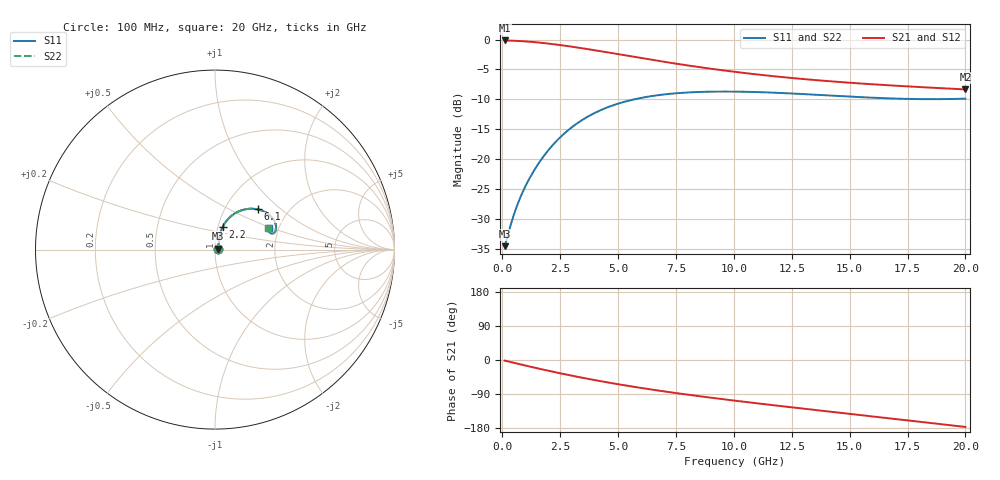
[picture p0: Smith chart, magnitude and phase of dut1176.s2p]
! Touchstone file exported from HFSS 2024.1.0
!  File:  C:/UserFiles/LocalFiles/RDL_TSV_Batchsim/temp_RDL_TSV_1176_1780124351.aedt
!  Generated:  03:16:31 PM May 30, 2026
!  Design:  RDL_TSV
!  Project:  temp_RDL_TSV_1176_1780124351
!  Setup:  Setup1
!  Solution:  Sweep
! Variables:
!  dtsv = 5.4um
!  hbump = 3um
!  htsv = 82.5um
!  ldown = 490.79um
!  lrdl = 226.01um
!  p = 40
!  p1 = 54.93um
!  rhole = 10um
!  subl = 2376.41um
!  t = 450um
!  tdown = 2.47um
!  trdl = 3.38um
!  viad = 10um
!  wdown = 20.38um
!  wrdl = 17.48um
!  xbump = 18um
# GHz S MA R 50.000000
! Terminal data exported
! Port[1] = TM1_1_T1
! Port[2] = TM1_4_T1
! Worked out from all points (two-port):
!   200 points, 100 MHz to 20 GHz, reference 50 ohm
!   highest |S21| = -0.16 dB at 100 MHz (marker M1); lowest = -8.3 dB at 20 GHz (marker M2)
!   |S21| within 3 dB of the highest: start of sweep to 6.093 GHz
!   lowest |S11| = -34.5 dB at 100 MHz (marker M3), VSWR 1.04, Z = 51.8 + j0.613 ohm
!   |S11| at or under -10 dB: start of sweep to 5.698 GHz
!   |S22| runs from -34.5 to -8.7 dB; largest |S21 - S12| = 1.9e-14
!   S11 on the Smith chart (normalised r, x): 100 MHz: 1.04, +0.01; 2.2 GHz: 1.05, +0.27; 6.1 GHz: 1.42, +0.71; 20 GHz: 1.77, +0.47
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0.1  0.01874 18.4  0.9821 -1.5  0.9821 -1.5  0.01874 18.4
! Gamma 0 0 0 0
! Port Impedance 50 0 50 0
0.4  0.02982 49.4  0.9784 -6.0  0.9784 -6.0  0.02982 49.4
0.6  0.03907 58.3  0.9746 -8.9  0.9746 -8.9  0.03907 58.3
1  0.0594 67.4  0.9644 -14.7  0.9644 -14.7  0.0594 67.3
1.3  0.07622 70.5  0.9544 -18.9  0.9544 -18.9  0.07622 70.5
1.6  0.09421 71.9  0.9426 -23.1  0.9426 -23.1  0.0942 71.8
2.2  0.1325 71.3  0.9146 -31.2  0.9146 -31.2  0.1325 71.3
2.8  0.1718 68.3  0.8826 -38.9  0.8826 -38.9  0.1717 68.2
3.5  0.2155 63.2  0.8424 -47.4  0.8424 -47.4  0.2154 63.2
4.1  0.2491 58.4  0.807 -54.3  0.807 -54.3  0.249 58.4
4.7  0.2783 53.6  0.7719 -60.8  0.7719 -60.8  0.2781 53.5
5.4  0.3062 48.2  0.7323 -68.0  0.7323 -68.0  0.306 48.1
6.1  0.328 43.1  0.6949 -74.8  0.6949 -74.8  0.3277 43.1
6.8  0.3441 38.6  0.6602 -81.2  0.6602 -81.2  0.3437 38.5
8.4  0.3639 29.9  0.5919 -94.7  0.5919 -94.7  0.3635 29.8
10.1  0.367 23.1  0.5351 -107.7  0.5351 -107.7  0.3665 23.1
11.7  0.3597 18.8  0.4939 -119.3  0.4939 -119.3  0.3592 18.8
13.4  0.3467 16.2  0.4601 -131.1  0.4601 -131.1  0.3461 16.2
15  0.3335 15.5  0.4353 -142.1  0.4353 -142.1  0.3328 15.5
16.7  0.3222 16.5  0.4143 -153.8  0.4143 -153.8  0.3215 16.5
18.4  0.3173 18.8  0.397 -165.5  0.397 -165.5  0.3166 18.9
20  0.3206 21.6  0.3829 -176.6  0.3829 -176.6  0.32 21.6
